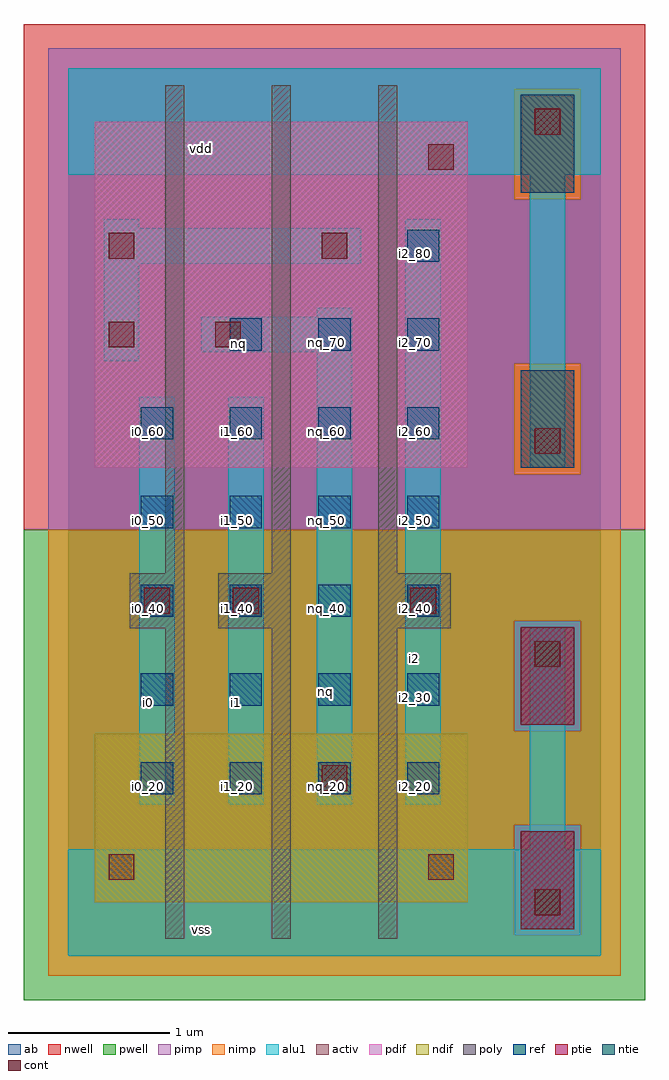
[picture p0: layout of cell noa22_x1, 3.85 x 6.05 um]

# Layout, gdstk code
import gdstk
lib = gdstk.Library(unit=1e-6, precision=2.5e-09)
def R(c, l, rs):  # rectangles x0, y0, x1, y1
    for r in rs: c.add(gdstk.rectangle(r[:2], r[2:], *l))
def A(c, l, x, y, w, h, nx, ny, dx, dy):  # array of equal rectangles
    R(c, l, [(x+i*dx, y+j*dy, x+i*dx+w, y+j*dy+h) for i in range(nx) for j in range(ny)])
ndif = (3, 0)
pdif = (4, 0)
ntie = (5, 0)
ptie = (6, 0)
ref = (24, 0)
cont = (25, 0)
pwell = (41, 0)
nwell = (42, 0)
activ = (43, 0)
pimp = (44, 0)
nimp = (45, 0)
poly = (46, 0)
alu1 = (49, 0)
ab = (63, 0)

noa22_x1 = lib.new_cell('noa22_x1')
R(noa22_x1, ndif, [(0.165,0.33,2.475,1.375)])
R(noa22_x1, pdif, [(0.165,3.025,2.475,5.17)])
R(noa22_x1, ntie, [(2.805,3.025,3.135,3.63), (2.805,4.73,3.135,5.335)])
R(noa22_x1, ptie, [(2.805,0.165,3.135,0.77), (2.805,1.43,3.135,2.035)])
A(noa22_x1, ref, 0.45, 1, 0.2, 0.2, 4, 5, 0.55, 0.55)
A(noa22_x1, ref, 1, 3.75, 0.2, 0.2, 3, 1, 0.55, 0)
R(noa22_x1, ref, [(2.1,4.3,2.3,4.5)])
R(noa22_x1, cont, [(2.89,0.25,3.05,0.41), (0.25,0.47,0.41,0.63), (2.23,0.47,2.39,0.63), (1.57,1.02,1.73,1.18), (2.89,1.79,3.05,1.95), (0.47,2.12,0.63,2.28), (1.02,2.12,1.18,2.28), (2.12,2.12,2.28,2.28), (2.89,3.11,3.05,3.27), (0.25,3.77,0.41,3.93), (0.91,3.77,1.07,3.93), (0.25,4.32,0.41,4.48), (1.57,4.32,1.73,4.48), (2.23,4.87,2.39,5.03), (2.89,5.09,3.05,5.25)])
R(noa22_x1, pwell, [(-0.275,-0.275,3.575,2.64)])
R(noa22_x1, nwell, [(-0.275,2.64,3.575,5.775)])
R(noa22_x1, activ, [(2.805,0.165,3.135,0.77), (0.165,0.33,2.475,1.375), (2.805,1.43,3.135,2.035), (0.165,3.025,2.475,5.17), (2.805,3.025,3.135,3.63), (2.805,4.73,3.135,5.335)])
R(noa22_x1, pimp, [(2.765,0.125,3.175,0.81), (2.765,1.39,3.175,2.075), (-0.125,2.64,3.425,2.985), (-0.125,2.985,2.765,3.67), (3.175,2.985,3.425,3.67), (-0.125,3.67,3.425,4.69), (-0.125,4.69,2.765,5.375), (3.175,4.69,3.425,5.375), (-0.125,5.375,3.425,5.625)])
R(noa22_x1, nimp, [(-0.125,-0.125,3.425,0.125), (-0.125,0.125,2.765,0.81), (3.175,0.125,3.425,0.81), (-0.125,0.81,3.425,1.39), (-0.125,1.39,2.765,2.075), (3.175,1.39,3.425,2.075), (-0.125,2.075,3.425,2.64), (2.765,2.985,3.175,3.67), (2.765,4.69,3.175,5.375)])
A(noa22_x1, poly, 0.6, 0.105, 0.12, 1.925, 3, 1, 0.66, 0)
A(noa22_x1, poly, 0.6, 2.37, 0.12, 3.025, 3, 1, 0.66, 0)
R(noa22_x1, poly, [(0.38,2.03,0.72,2.37), (0.93,2.03,1.38,2.37), (1.92,2.03,2.37,2.37)])
R(noa22_x1, alu1, [(0,0,3.3,0.66), (2.86,0.66,3.08,2.035), (0.44,0.935,0.66,3.465), (0.99,0.935,1.21,3.465), (1.54,0.935,1.76,3.74), (2.09,0.935,2.31,4.565), (2.86,3.025,3.08,4.84), (0.22,3.685,0.44,4.29), (0.825,3.74,1.76,3.96), (1.54,3.96,1.76,4.015), (0.22,4.29,1.815,4.51), (0.22,4.51,0.44,4.565), (0,4.84,3.3,5.5)])
R(noa22_x1, ab, [(0,0,3.3,5.5)])
noa22_x1.add(gdstk.Label('vss', (0.825,0.165), layer=49, texttype=0))
noa22_x1.add(gdstk.Label('i2', (2.145,1.8425), layer=49, texttype=0))
noa22_x1.add(gdstk.Label('nq', (1.595,1.635), layer=49, texttype=0))
noa22_x1.add(gdstk.Label('i1', (1.045,1.5675), layer=49, texttype=0))
noa22_x1.add(gdstk.Label('i0', (0.495,1.5675), layer=49, texttype=0))
noa22_x1.add(gdstk.Label('nq', (1.0575,3.795), layer=49, texttype=0))
noa22_x1.add(gdstk.Label('vdd', (0.825,5.005), layer=49, texttype=0))
noa22_x1.add(gdstk.Label('nq_70', (1.05,3.8), layer=24, texttype=0))
noa22_x1.add(gdstk.Label('i2_80', (2.15,4.35), layer=24, texttype=0))
noa22_x1.add(gdstk.Label('i0_20', (0.5,1.05), layer=24, texttype=0))
noa22_x1.add(gdstk.Label('i0_30', (0.5,1.6), layer=24, texttype=0))
noa22_x1.add(gdstk.Label('i0_40', (0.5,2.15), layer=24, texttype=0))
noa22_x1.add(gdstk.Label('i0_50', (0.5,2.7), layer=24, texttype=0))
noa22_x1.add(gdstk.Label('i0_60', (0.5,3.25), layer=24, texttype=0))
noa22_x1.add(gdstk.Label('i1_60', (1.05,3.25), layer=24, texttype=0))
noa22_x1.add(gdstk.Label('i1_50', (1.05,2.7), layer=24, texttype=0))
noa22_x1.add(gdstk.Label('i1_40', (1.05,2.15), layer=24, texttype=0))
noa22_x1.add(gdstk.Label('i1_30', (1.05,1.6), layer=24, texttype=0))
noa22_x1.add(gdstk.Label('i1_20', (1.05,1.05), layer=24, texttype=0))
noa22_x1.add(gdstk.Label('i2_20', (2.15,1.05), layer=24, texttype=0))
noa22_x1.add(gdstk.Label('i2_30', (2.15,1.6), layer=24, texttype=0))
noa22_x1.add(gdstk.Label('i2_40', (2.15,2.15), layer=24, texttype=0))
noa22_x1.add(gdstk.Label('i2_50', (2.15,2.7), layer=24, texttype=0))
noa22_x1.add(gdstk.Label('i2_60', (2.15,3.25), layer=24, texttype=0))
noa22_x1.add(gdstk.Label('i2_70', (2.15,3.8), layer=24, texttype=0))
noa22_x1.add(gdstk.Label('nq_20', (1.6,1.05), layer=24, texttype=0))
noa22_x1.add(gdstk.Label('nq_30', (1.6,1.6), layer=24, texttype=0))
noa22_x1.add(gdstk.Label('nq_40', (1.6,2.15), layer=24, texttype=0))
noa22_x1.add(gdstk.Label('nq_50', (1.6,2.7), layer=24, texttype=0))
noa22_x1.add(gdstk.Label('nq_60', (1.6,3.25), layer=24, texttype=0))
noa22_x1.add(gdstk.Label('nq_70', (1.6,3.8), layer=24, texttype=0))

lib.write_gds('noa22_x1.gds')
